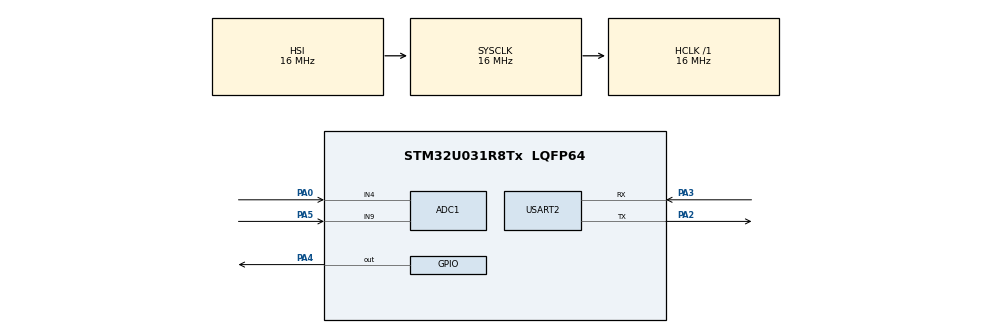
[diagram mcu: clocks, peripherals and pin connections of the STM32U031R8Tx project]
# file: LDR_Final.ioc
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ADC1.Channel-7\#ChannelRegularConversion=ADC_CHANNEL_9
ADC1.Channel-8\#ChannelRegularConversion=ADC_CHANNEL_4
ADC1.ClockPrescaler=ADC_CLOCK_ASYNC_DIV4
ADC1.ContinuousConvMode=ENABLE
ADC1.DMAContinuousRequests=ENABLE
ADC1.DiscontinuousConvMode=DISABLE
ADC1.EnableAnalogWatchDog1=false
ADC1.LowPowerAutoWait=ENABLE
ADC1.NbrOfConversion=2
ADC1.NbrOfConversionFlag=1
ADC1.Overrun=ADC_OVR_DATA_OVERWRITTEN
ADC1.Rank-8\#ChannelRegularConversion=2
ADC1.RankArg-7\#ChannelRegularConversion=ADC_REGULAR_RANK_1
ADC1.RankArg-8\#ChannelRegularConversion=ADC_REGULAR_RANK_2
ADC1.SamplingTime-8\#ChannelRegularConversion=ADC_SAMPLINGTIME_COMMON_1
ADC1.SamplingTimeCommon1=ADC_SAMPLETIME_160CYCLES_5
ADC1.SamplingTimeCommon2=ADC_SAMPLETIME_160CYCLES_5
ADC1.SelectedChannel=ADC_CHANNEL_4|ADC_CHANNEL_9|ADC_CHANNEL_VBAT
ADC1.master=1
Dma.ADC1.0.Direction=DMA_PERIPH_TO_MEMORY
Dma.ADC1.0.EventEnable=DISABLE
Dma.ADC1.0.Instance=DMA1_Channel1
Dma.ADC1.0.MemDataAlignment=DMA_MDATAALIGN_HALFWORD
Dma.ADC1.0.MemInc=DMA_MINC_ENABLE
Dma.ADC1.0.Mode=DMA_CIRCULAR
Dma.ADC1.0.PeriphDataAlignment=DMA_PDATAALIGN_HALFWORD
Dma.ADC1.0.PeriphInc=DMA_PINC_DISABLE
Dma.ADC1.0.Polarity=HAL_DMAMUX_REQ_GEN_RISING
Dma.ADC1.0.Priority=DMA_PRIORITY_LOW
Dma.ADC1.0.RequestNumber=1
Dma.ADC1.0.SignalID=NONE
Dma.ADC1.0.SyncEnable=DISABLE
Dma.ADC1.0.SyncPolarity=HAL_DMAMUX_SYNC_NO_EVENT
Dma.ADC1.0.SyncRequestNumber=1
Dma.ADC1.0.SyncSignalID=NONE
Dma.Request0=ADC1
Mcu.Family=STM32U0
Mcu.Name=STM32U031R8Tx
Mcu.Package=LQFP64
NUCLEO-U031R8.BUTTON=1
NUCLEO-U031R8.LD4=false
NUCLEO-U031R8.VCP=false
NVIC.ADC_COMP1_IRQn=true\:0\:0\:false\:false\:true\:true\:true\:true
NVIC.DMA1_Channel1_IRQn=true\:0\:0\:false\:false\:true\:false\:true\:true
NVIC.EXTI4_15_IRQn=true\:0\:0\:false\:false\:true\:false\:true\:true
NVIC.PriorityGroup=NVIC_PRIORITYGROUP_2
NVIC.RTC_TAMP_IRQn=true\:0\:0\:false\:false\:true\:true\:true\:true
NVIC.TIM6_DAC_LPTIM1_IRQn=true\:0\:0\:false\:false\:true\:true\:true\:true
PA0.Mode=IN4
PA0.Signal=ADC1_IN4
PA0.Stacked=true
PA13\ (SWDIO).GPIO_Label=SWDIO
PA13\ (SWDIO).Signal=DEBUG_JTMS-SWDIO
PA14\ (SWCLK).GPIO_Label=SWCLK
PA14\ (SWCLK).Signal=DEBUG_JTCK-SWCLK
PA2.Mode=Asynchronous
PA2.Signal=USART2_TX
PA2.Stacked=true
PA3.Mode=Asynchronous
PA3.Signal=USART2_RX
PA3.Stacked=true
PA4.Signal=GPIO_Output
PA4.Stacked=true
PA5.Mode=IN9
PA5.Signal=ADC1_IN9
PB8.GPIO_Label=I2C1_SCL
PB8.Signal=I2C1_SCL
PB9.GPIO_Label=I2C1_SDA
PB9.Signal=I2C1_SDA
PC14-OSC32_IN.GPIO_Label=OSC32_IN
PC14-OSC32_IN.Signal=RCC_OSC32_IN
PC15-OSC32_OUT.GPIO_Label=OSC32_OUT
PC15-OSC32_OUT.Signal=RCC_OSC32_OUT
PF0-OSC_IN.GPIO_Label=OSC_IN
PF0-OSC_IN.Signal=RCC_OSC_IN
PF1-OSC_OUT.GPIO_Label=OSC_OUT
PF1-OSC_OUT.Signal=RCC_OSC_OUT
ProjectManager.HeapSize=0x200
ProjectManager.StackSize=0x400
ProjectManager.TargetToolchain=STM32CubeIDE
RCC.AHBFreq_Value=16000000
RCC.CortexFreq_Value=16000000
RCC.HCLKFreq_Value=16000000
RCC.HSE_VALUE=4000000
RCC.HSI48_VALUE=48000000
RCC.HSI_VALUE=16000000
RCC.LSE_VALUE=32768
RCC.MSI_VALUE=4000000
RCC.SYSCLKFreq_VALUE=16000000
RCC.VCOOutputFreq_Value=64000000
USART2.VirtualMode-Asynchronous=VM_ASYNC
VP_ADC1_Vbat_Input.Mode=IN-Vbat
VP_DAC1_VS_DACI1.Mode=DAC_OUT1_Int
VP_NUCLEO-U031R8_VS_BSP_COMMON.Mode=COMMON
VP_PWR_VS_SECSignals.Mode=Security/Privilege
VP_RTC_VS_RTC_Activate.Mode=RTC_Enabled
VP_RTC_VS_RTC_WakeUp_intern.Mode=WakeUp
board=NUCLEO-U031R8

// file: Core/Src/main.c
/* USER CODE BEGIN Header */
/**
  ******************************************************************************
  * @file           : main.c
  * @brief          : Main program body
  ******************************************************************************
  * @attention
  *
  * Copyright (c) 2026 STMicroelectronics.
  * All rights reserved.
  *
  * This software is licensed under terms that can be found in the LICENSE file
  * in the root directory of this software component.
  * If no LICENSE file comes with this software, it is provided AS-IS.
  *
  ******************************************************************************
  */
/* USER CODE END Header */
#include "main.h"

/* USER CODE BEGIN Includes */
#include "stdio.h"
#include "string.h"
#include "math.h"
#include "power_management.h"

/* USER CODE END Includes */

ADC_HandleTypeDef hadc1;
DMA_HandleTypeDef hdma_adc1;

DAC_HandleTypeDef hdac1;

RTC_HandleTypeDef hrtc;

UART_HandleTypeDef huart2;

/* USER CODE BEGIN PV */

uint32_t adc_buffer[2]; //[0] = IN5 (Rank1, LDR),  [1] = IN4 (Rank2, batterie)
volatile uint8_t adc_ready = 0; // flag levé par le DMA quand les données sont prêtes

   //==================================================================//
  //                INITIALISATION PARTIE LUMINOSITÉ                  //
 //==================================================================//

// Variable pour la mesure de la luminosité
uint16_t adc_value = 0;
float voltage = 0.0f;
float R_ldr = 0.0f;
float lux = 0.0f;
char msg[100];

// Paramètres du montage
const float R_FIXED =  100000.0f; //22000.0f; // résistance de 100k // Mesure Luminosité
const float VCC = 3.3f;

  //==================================================================//
 //               INITIALISATION PARTIE ÉNERGIE PILE                 //
//==================================================================//

// Variable pour l'estimation de l'énergie
uint32_t adc_32 = 0;   // Valeur brute lue par l'ADC (0-4095)
uint16_t adc_bat_value = 0;   // Valeur brute lue par l'ADC (0-4095)
float v_bat_measurer = 0.0f;  // Tension lue sur la pin PA0
float v_bat_reel = 0.0f;      // Tension réelle de la pile (après correction du pont)
int bat_pourcentage = 0;       // Résultat final en %

// Paramètres du montage
const float R10 = 560000.0f; //res 560k Ohm
const float R11 = 330000.0f; //res 330k Ohm

// Pont Diviseur Pile
const float PDP_Bat_Coef= (R11+R10)/ R11;

// Seuil des Piles (6V)
const float V_MAX = 6.0f; // 100% //précédement mis à 6V
const float V_MIN = 4.0f; // 0%

//Lissage pour que le résultat soit stable
float v_bat_lisse = 0.0f;

//Nombre d'échantillons
const int nb_echantillons = 10;

/* USER CODE END PV */

void SystemClock_Config(void);
static void MX_GPIO_Init(void);
static void MX_DMA_Init(void);
static void MX_USART2_UART_Init(void);
static void MX_ADC1_Init(void);
static void MX_DAC1_Init(void);
static void MX_RTC_Init(void);

int main(void)
{

  /* MCU Configuration--------------------------------------------------------*/

  /* Reset of all peripherals, Initializes the Flash interface and the Systick. */
  HAL_Init();

  /* Configure the system clock */
  SystemClock_Config();

  /* Initialize all configured peripherals */
  MX_GPIO_Init();
  MX_DMA_Init();
  MX_USART2_UART_Init();
  MX_ADC1_Init();
  MX_DAC1_Init();
  MX_RTC_Init();
  /* USER CODE BEGIN 2 */
  HAL_ADCEx_Calibration_Start(&hadc1);
  HAL_GPIO_WritePin(GPIOA, GPIO_PIN_4, GPIO_PIN_SET); // Alimente le pont diviseur
  HAL_Delay(10);
  HAL_ADC_Start_DMA(&hadc1, (uint32_t*)adc_buffer, 2); // Lance l'acquisition DMA en continu

  //==================================================================//
 //                        PARTIE ÉNERGIE PILE                       //
//==================================================================//

  // MISE EN VEILLE
  //Nettoyage de sécurité au démarrage
  __HAL_RTC_WAKEUPTIMER_CLEAR_FLAG(&hrtc, RTC_FLAG_WUTF);
    HAL_RTCEx_DeactivateWakeUpTimer(&hrtc);

    //Forcer l'activation de l'interruption RTC dans le contrôleur de la puce (NVIC)
    // Même si CubeMX est censé le faire, cette ligne sécurise le coup
    HAL_NVIC_SetPriority(RTC_TAMP_IRQn, 0, 0);
    HAL_NVIC_EnableIRQ(RTC_TAMP_IRQn);

  /* USER CODE END 2 */

  /* Initialize USER push-button, will be used to trigger an interrupt each time it's pressed.*/
  BSP_PB_Init(BUTTON_USER, BUTTON_MODE_EXTI);

  /* Infinite loop */
  /* USER CODE BEGIN WHILE */
  while (1)
    {

	        // On attend que le DMA ait fini sa première nouvelle capture
	        while(adc_ready == 0);

	      if (adc_ready == 1)
	      {
	          adc_ready = 0;   // on remet le flag à 0

	  // Lecture DMA : les valeurs sont mises à jour automatiquement en fond de tâche
	  adc_32  = adc_buffer[0];

	  adc_value     = adc_32&0xFFFF;   // IN5 (PA5) — LDR luminosité (16 bits poids faible)
	  adc_bat_value = (adc_32&0xFFFF0000)>>16;   // IN4 (PA4) — pont diviseur batterie (16 bits poids fort)

      //==================================================================//
     //                          PARTIE LUMINOSITÉ                       //
    //==================================================================//

      //  Conversion : Chiffre ADC -> Tension (Volt)
      voltage = (float)adc_value * VCC / 4095.0;

      //  Calcul de la résistance de la LDR puis des Lux
      	  // On vérifie que voltage > 0 pour éviter de diviser par zéro
      if (voltage > 0.1f) {
          // Formule du pont diviseur inversée pour trouver R_ldr
          R_ldr = (VCC * R_FIXED/ voltage) - R_FIXED;

          // Formule d'approximation Lux
          //lux = pow(10,((log10(R_ldr/1000.0f)-2.8)/-0.712)); //lux = pow(10,((log10(R_ldr/1000.0f)-2.94)/-0.789))
          lux = pow(10,((log10(R_ldr)-5.96)/-0.797));
      } else {
          lux = 0.0;
      }

      //Décomposition pour affichage sans %f
          int volt_entier = (int)voltage;
          int volt_dec    = (int)((voltage - volt_entier) * 100);
          int rldr_kohm   = (int)(R_ldr / 1000.0f);
          int lux_entier  = (int)lux;
          int lux_dec     = (int)((lux - lux_entier) * 10);

          //==================================================================//
         //                        PARTIE ÉNERGIE PILE                       //
        //==================================================================//

//Tension sur la PIN PA0 (entre 0 et 3.3V car elle ne prend que 3.3V)
          v_bat_measurer = ((float)adc_bat_value) * VCC / 4095.0;

// Tension Réel des piles (Application du Coef)
          //Si besoin d'un OFFSET
          v_bat_lisse = (v_bat_measurer * PDP_Bat_Coef) + OFFSET_BAT;

          HAL_Delay(100);

      //Calcul du pourcentage (Produit en croix entre V_MIN et V_MAX) -- Calcul linéaire -- pas bon car les piles n'ont pas une courbe linéaire
      if (v_bat_lisse > V_MIN){
 /*   	  bat_pourcentage = (int)(((v_bat_lisse - V_MIN)/(V_MAX - V_MIN))*100.0f);
   */
    	  bat_pourcentage =(-31.4f *v_bat_lisse * v_bat_lisse * v_bat_lisse)+(483.0f * v_bat_lisse * v_bat_lisse) -(2389.0f * v_bat_lisse) + 3842.0f;
      } else {
    	  bat_pourcentage = 0;
      }

      // Sécurité pour ne pas afficher 102% ou -2%
          if (bat_pourcentage > 100) bat_pourcentage = 100;
          if (bat_pourcentage < 0)   bat_pourcentage = 0;

      //Décomposition pour affichage sans %f
          int v_entier = (int)v_bat_lisse;
          int v_dec = (int)((v_bat_lisse - v_entier) * 100);

          //==================================================================//
         //                       AFFICHAGE LIAISON SÉRIE                    //
        //==================================================================//

         //Affichage Luminosité
       // Affichage sur le PC  (USART2)
      // On affiche l'entier (int)lux pour être sûr que ça s'affiche sans config spéciale
         int len = sprintf(msg, "ADC:%4lu | V:%d.%02dV | R_ldr:%d kohm | Lux:%d.%d\r\n", adc_value, volt_entier, volt_dec, rldr_kohm, lux_entier, lux_dec);
          HAL_UART_Transmit(&huart2, (uint8_t*)msg, len, HAL_MAX_DELAY);

          //Affichage Batterie Restante
          int len2 = sprintf(msg, "BAT: %4lu | Tension: %d.%02dV | Energie: %d%%\r\n\r\n",
                  adc_bat_value, v_entier, v_dec, bat_pourcentage); // ancienne partie de code
        		  //adc_bat_value, v_entier, v_dec, mon_pourcentage);
              HAL_UART_Transmit(&huart2, (uint8_t*)msg, len2, 100);

             HAL_Delay(1000);

              //==================================================================//
             //               		MISE EN VEILLE PROCESSEUR                    //
            //==================================================================//

             // Nettoyage des flags RTC
             HAL_PWR_EnableBkUpAccess();
             HAL_RTCEx_DeactivateWakeUpTimer(&hrtc);
             __HAL_RTC_WAKEUPTIMER_CLEAR_FLAG(&hrtc, RTC_FLAG_WUTF);
             EXTI->RPR1 = (1 << 19);
             EXTI->FPR1 = (1 << 19);

             // Armement : 299 = 5 minutes à 1Hz (RTC_WAKEUPCLOCK_CK_SPRE_16BITS)
             // Pour 5 min : valeur = (5 * 60) - 1 = 299
             // Pour 10 min : valeur = (10 * 60) - 1 = 599
             if (HAL_RTCEx_SetWakeUpTimer_IT(&hrtc, 5,
                     RTC_WAKEUPCLOCK_CK_SPRE_16BITS, 0) == HAL_OK)
             {
                 Aller_Au_Dodo();
             }
             else
             {
                 NVIC_SystemReset();

	      }

	      }

   }
    /* USER CODE END WHILE */

}

void SystemClock_Config(void)
{
  RCC_OscInitTypeDef RCC_OscInitStruct = {0};
  RCC_ClkInitTypeDef RCC_ClkInitStruct = {0};

  /** Configure the main internal regulator output voltage
  */
  HAL_PWREx_ControlVoltageScaling(PWR_REGULATOR_VOLTAGE_SCALE2);

  /** Initializes the RCC Oscillators according to the specified parameters
  * in the RCC_OscInitTypeDef structure.
  */
  RCC_OscInitStruct.OscillatorType = RCC_OSCILLATORTYPE_HSI|RCC_OSCILLATORTYPE_LSI;
  RCC_OscInitStruct.HSIState = RCC_HSI_ON;
  RCC_OscInitStruct.HSICalibrationValue = RCC_HSICALIBRATION_DEFAULT;
  RCC_OscInitStruct.LSIState = RCC_LSI_ON;
  RCC_OscInitStruct.PLL.PLLState = RCC_PLL_NONE;
  if (HAL_RCC_OscConfig(&RCC_OscInitStruct) != HAL_OK)
  {
    Error_Handler();
  }

  /** Initializes the CPU, AHB and APB buses clocks
  */
  RCC_ClkInitStruct.ClockType = RCC_CLOCKTYPE_HCLK|RCC_CLOCKTYPE_SYSCLK
                              |RCC_CLOCKTYPE_PCLK1;
  RCC_ClkInitStruct.SYSCLKSource = RCC_SYSCLKSOURCE_HSI;
  RCC_ClkInitStruct.AHBCLKDivider = RCC_SYSCLK_DIV1;
  RCC_ClkInitStruct.APB1CLKDivider = RCC_HCLK_DIV1;

  if (HAL_RCC_ClockConfig(&RCC_ClkInitStruct, FLASH_LATENCY_1) != HAL_OK)
  {
    Error_Handler();
  }
}

static void MX_ADC1_Init(void)
{

  ADC_ChannelConfTypeDef sConfig = {0};

  /** Configure the global features of the ADC (Clock, Resolution, Data Alignment and number of conversion)
  */
  hadc1.Instance = ADC1;
  hadc1.Init.ClockPrescaler = ADC_CLOCK_ASYNC_DIV4;
  hadc1.Init.Resolution = ADC_RESOLUTION_12B;
  hadc1.Init.DataAlign = ADC_DATAALIGN_RIGHT;
  hadc1.Init.ScanConvMode = ADC_SCAN_ENABLE;
  hadc1.Init.EOCSelection = ADC_EOC_SINGLE_CONV;
  hadc1.Init.LowPowerAutoWait = ENABLE;
  hadc1.Init.LowPowerAutoPowerOff = DISABLE;
  hadc1.Init.ContinuousConvMode = ENABLE;
  hadc1.Init.NbrOfConversion = 2;
  hadc1.Init.DiscontinuousConvMode = DISABLE;
  hadc1.Init.ExternalTrigConv = ADC_SOFTWARE_START;
  hadc1.Init.ExternalTrigConvEdge = ADC_EXTERNALTRIGCONVEDGE_NONE;
  hadc1.Init.DMAContinuousRequests = ENABLE;
  hadc1.Init.Overrun = ADC_OVR_DATA_OVERWRITTEN;
  hadc1.Init.SamplingTimeCommon1 = ADC_SAMPLETIME_160CYCLES_5;
  hadc1.Init.SamplingTimeCommon2 = ADC_SAMPLETIME_160CYCLES_5;
  hadc1.Init.OversamplingMode = DISABLE;
  hadc1.Init.TriggerFrequencyMode = ADC_TRIGGER_FREQ_HIGH;
  if (HAL_ADC_Init(&hadc1) != HAL_OK)
  {
    Error_Handler();
  }

  /** Configure Regular Channel
  */
  sConfig.Channel = ADC_CHANNEL_9;
  sConfig.Rank = ADC_REGULAR_RANK_1;
  sConfig.SamplingTime = ADC_SAMPLINGTIME_COMMON_1;
  if (HAL_ADC_ConfigChannel(&hadc1, &sConfig) != HAL_OK)
  {
    Error_Handler();
  }

  /** Configure Regular Channel
  */
  sConfig.Channel = ADC_CHANNEL_4;
  sConfig.Rank = ADC_REGULAR_RANK_2;
  if (HAL_ADC_ConfigChannel(&hadc1, &sConfig) != HAL_OK)
  {
    Error_Handler();
  }

}

static void MX_DAC1_Init(void)
{

  DAC_ChannelConfTypeDef sConfig = {0};

  /** DAC Initialization
  */
  hdac1.Instance = DAC1;
  if (HAL_DAC_Init(&hdac1) != HAL_OK)
  {
    Error_Handler();
  }

  /** DAC channel OUT1 config
  */
  sConfig.DAC_SampleAndHold = DAC_SAMPLEANDHOLD_DISABLE;
  sConfig.DAC_Trigger = DAC_TRIGGER_NONE;
  sConfig.DAC_OutputBuffer = DAC_OUTPUTBUFFER_DISABLE;
  sConfig.DAC_ConnectOnChipPeripheral = DAC_CHIPCONNECT_INTERNAL;
  sConfig.DAC_UserTrimming = DAC_TRIMMING_FACTORY;
  if (HAL_DAC_ConfigChannel(&hdac1, &sConfig, DAC_CHANNEL_1) != HAL_OK)
  {
    Error_Handler();
  }

}

static void MX_RTC_Init(void)
{

  /** Initialize RTC Only
  */
  hrtc.Instance = RTC;
  hrtc.Init.HourFormat = RTC_HOURFORMAT_24;
  hrtc.Init.AsynchPrediv = 127;
  hrtc.Init.SynchPrediv = 255;
  hrtc.Init.OutPut = RTC_OUTPUT_DISABLE;
  hrtc.Init.OutPutRemap = RTC_OUTPUT_REMAP_NONE;
  hrtc.Init.OutPutPolarity = RTC_OUTPUT_POLARITY_HIGH;
  hrtc.Init.OutPutType = RTC_OUTPUT_TYPE_OPENDRAIN;
  hrtc.Init.OutPutPullUp = RTC_OUTPUT_PULLUP_NONE;
  hrtc.Init.BinMode = RTC_BINARY_NONE;
  if (HAL_RTC_Init(&hrtc) != HAL_OK)
  {
    Error_Handler();
  }

  /** Enable the WakeUp
  */
  if (HAL_RTCEx_SetWakeUpTimer_IT(&hrtc, 0, RTC_WAKEUPCLOCK_RTCCLK_DIV16, 0) != HAL_OK)
  {
    Error_Handler();
  }

}

static void MX_USART2_UART_Init(void)
{

  huart2.Instance = USART2;
  huart2.Init.BaudRate = 115200;
  huart2.Init.WordLength = UART_WORDLENGTH_8B;
  huart2.Init.StopBits = UART_STOPBITS_1;
  huart2.Init.Parity = UART_PARITY_NONE;
  huart2.Init.Mode = UART_MODE_TX_RX;
  huart2.Init.HwFlowCtl = UART_HWCONTROL_NONE;
  huart2.Init.OverSampling = UART_OVERSAMPLING_16;
  huart2.Init.OneBitSampling = UART_ONE_BIT_SAMPLE_DISABLE;
  huart2.Init.ClockPrescaler = UART_PRESCALER_DIV1;
  huart2.AdvancedInit.AdvFeatureInit = UART_ADVFEATURE_NO_INIT;
  if (HAL_UART_Init(&huart2) != HAL_OK)
  {
    Error_Handler();
  }
  if (HAL_UARTEx_SetTxFifoThreshold(&huart2, UART_TXFIFO_THRESHOLD_1_8) != HAL_OK)
  {
    Error_Handler();
  }
  if (HAL_UARTEx_SetRxFifoThreshold(&huart2, UART_RXFIFO_THRESHOLD_1_8) != HAL_OK)
  {
    Error_Handler();
  }
  if (HAL_UARTEx_DisableFifoMode(&huart2) != HAL_OK)
  {
    Error_Handler();
  }

}

static void MX_DMA_Init(void)
{

  /* DMA controller clock enable */
  __HAL_RCC_DMA1_CLK_ENABLE();

  /* DMA interrupt init */
  /* DMA1_Channel1_IRQn interrupt configuration */
  HAL_NVIC_SetPriority(DMA1_Channel1_IRQn, 0, 0);
  HAL_NVIC_EnableIRQ(DMA1_Channel1_IRQn);

}

static void MX_GPIO_Init(void)
{
  GPIO_InitTypeDef GPIO_InitStruct = {0};

  /* GPIO Ports Clock Enable */
  __HAL_RCC_GPIOC_CLK_ENABLE();
  __HAL_RCC_GPIOF_CLK_ENABLE();
  __HAL_RCC_GPIOA_CLK_ENABLE();
  __HAL_RCC_GPIOB_CLK_ENABLE();

  /*Configure GPIO pin Output Level */
  HAL_GPIO_WritePin(GPIOA, GPIO_PIN_4, GPIO_PIN_RESET);

  /*Configure GPIO pin : PA4 */
  GPIO_InitStruct.Pin = GPIO_PIN_4;
  GPIO_InitStruct.Mode = GPIO_MODE_OUTPUT_PP;
  GPIO_InitStruct.Pull = GPIO_NOPULL;
  GPIO_InitStruct.Speed = GPIO_SPEED_FREQ_LOW;
  HAL_GPIO_Init(GPIOA, &GPIO_InitStruct);

  /*Configure GPIO pins : I2C1_SCL_Pin I2C1_SDA_Pin */
  GPIO_InitStruct.Pin = I2C1_SCL_Pin|I2C1_SDA_Pin;
  GPIO_InitStruct.Mode = GPIO_MODE_AF_OD;
  GPIO_InitStruct.Pull = GPIO_NOPULL;
  GPIO_InitStruct.Speed = GPIO_SPEED_FREQ_LOW;
  GPIO_InitStruct.Alternate = GPIO_AF4_I2C1;
  HAL_GPIO_Init(GPIOB, &GPIO_InitStruct);

}

/* USER CODE BEGIN 4 */

// Cette fonction publique appelle la fonction privée MX_GPIO_Init
void Public_MX_GPIO_Init(void)
{
    MX_GPIO_Init();
}

// Cette fonction publique appelle la fonction privée MX_USART2_UART_Init
void Public_MX_USART2_UART_Init(void)
{
    MX_USART2_UART_Init();
}

/* USER CODE END 4 */

void Error_Handler(void)
{
  __disable_irq();
  while (1)
  {
  }
}
